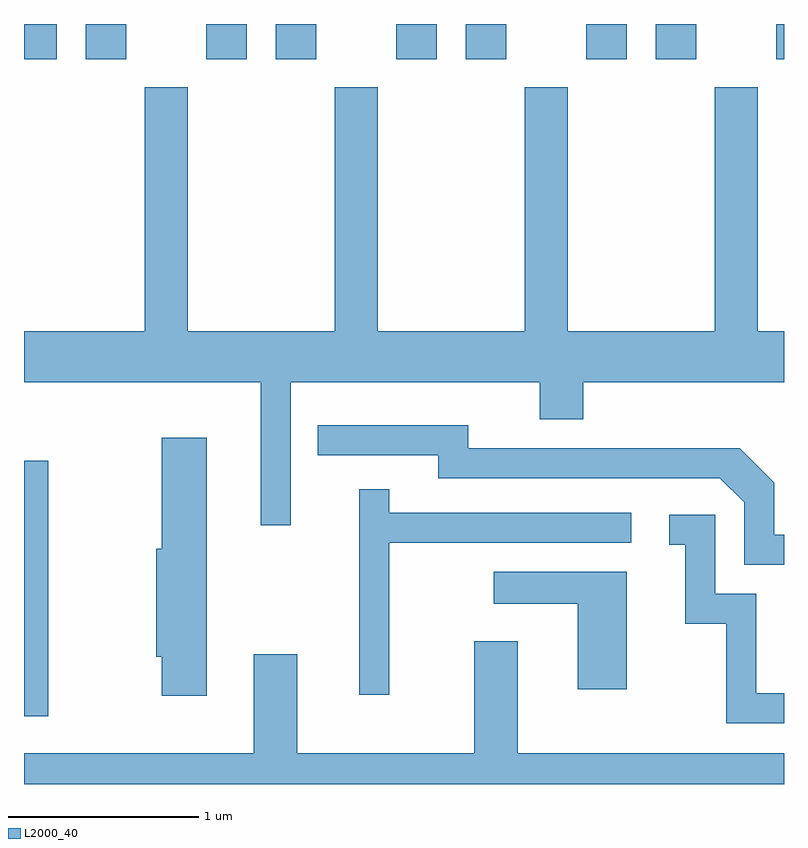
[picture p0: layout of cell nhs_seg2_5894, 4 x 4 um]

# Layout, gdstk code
import gdstk
lib = gdstk.Library(unit=1e-6, precision=1e-09)
def R(c, l, rs):  # rectangles x0, y0, x1, y1
    for r in rs: c.add(gdstk.rectangle(r[:2], r[2:], *l))
def P(c, l, *ps):  # polygons
    for p in ps: c.add(gdstk.Polygon(p, *l))
L2000_40 = (2000, 40)

nhs_seg2_5894 = lib.new_cell('nhs_seg2_5894')
R(nhs_seg2_5894, L2000_40, [(359.611,1002.158,359.739,1003.503), (359.611,1005.616,359.784,1005.802), (359.936,1005.616,360.149,1005.802), (360.571,1005.616,360.784,1005.802), (360.936,1005.616,361.149,1005.802), (361.571,1005.616,361.784,1005.802), (361.936,1005.616,362.149,1005.802), (362.571,1005.616,362.784,1005.802), (362.936,1005.616,363.149,1005.802), (363.571,1005.616,363.611,1005.802)])
P(nhs_seg2_5894, L2000_40, [(361.014,1003.916),(362.326,1003.916),(362.326,1003.721),(362.554,1003.721),(362.554,1003.916),(363.611,1003.916),(363.611,1004.184),(363.474,1004.184),(363.474,1005.469),(363.246,1005.469),(363.246,1004.184),(362.474,1004.184),(362.474,1005.469),(362.246,1005.469),(362.246,1004.184),(361.474,1004.184),(361.474,1005.469),(361.246,1005.469),(361.246,1004.184),(360.474,1004.184),(360.474,1005.469),(360.246,1005.469),(360.246,1004.184),(359.611,1004.184),(359.611,1003.916),(360.856,1003.916),(360.856,1003.163),(361.014,1003.163)],
  [(363.611,1003.114),(363.559,1003.114),(363.559,1003.387),(363.377,1003.569),(361.949,1003.569),(361.949,1003.689),(361.158,1003.689),(361.158,1003.531),(361.791,1003.531),(361.791,1003.411),(363.274,1003.411),(363.401,1003.284),(363.401,1002.956),(363.611,1002.956)],
  [(360.574,1003.624),(360.336,1003.624),(360.336,1003.039),(360.306,1003.039),(360.306,1002.471),(360.336,1002.471),(360.336,1002.266),(360.574,1002.266)],
  [(361.534,1003.071),(362.808,1003.071),(362.808,1003.229),(361.534,1003.229),(361.534,1003.353),(361.376,1003.353),(361.376,1002.273),(361.534,1002.273)],
  [(363.611,1002.279),(363.464,1002.279),(363.464,1002.804),(363.249,1002.804),(363.249,1003.219),(363.008,1003.219),(363.008,1003.061),(363.091,1003.061),(363.091,1002.646),(363.306,1002.646),(363.306,1002.121),(363.611,1002.121)],
  [(362.784,1002.919),(362.083,1002.919),(362.083,1002.751),(362.526,1002.751),(362.526,1002.301),(362.784,1002.301)],
  [(363.611,1001.964),(362.209,1001.964),(362.209,1002.554),(361.981,1002.554),(361.981,1001.964),(361.049,1001.964),(361.049,1002.484),(360.821,1002.484),(360.821,1001.964),(359.611,1001.964),(359.611,1001.802),(363.611,1001.802)])

lib.write_gds('nhs_seg2_5894.gds')
